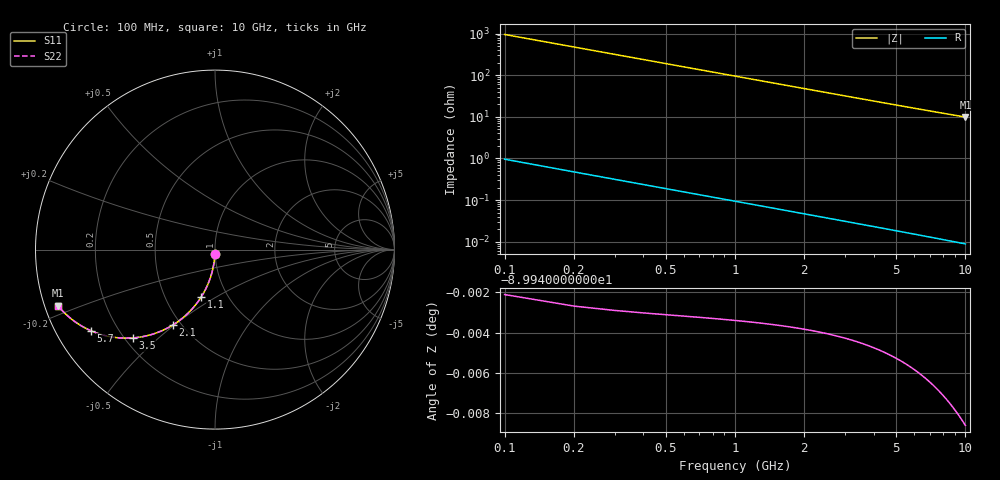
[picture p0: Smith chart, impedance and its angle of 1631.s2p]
# Hz S RI R 50.00
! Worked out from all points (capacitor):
!   100 points, 100 MHz to 10 GHz, reference 50 ohm
!   read as one part in shunt: C = 1.68 pF near 100 MHz
!   lowest |Z| = 9.85 ohm at 10 GHz (marker M1)
!   S11 on the Smith chart (normalised r, x): 100 MHz: 1.00, -0.05; 1.1 GHz: 0.75, -0.43; 2.1 GHz: 0.45, -0.49; 3.5 GHz: 0.23, -0.42; 5.7 GHz: 0.10, -0.29; 10 GHz: 0.04, -0.17
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1e8  -0.000688 -0.0262  0.9992 -0.0265  0.9992 -0.0265  -0.000688 -0.0262
2e8  -0.00279 -0.0522  0.9971 -0.0529  0.9971 -0.0529  -0.00279 -0.0522
3e8  -0.00625 -0.0781  0.9937 -0.079  0.9937 -0.079  -0.00625 -0.0781
4e8  -0.0111 -0.1036  0.9889 -0.1049  0.9889 -0.1049  -0.0111 -0.1036
5e8  -0.0172 -0.1287  0.9828 -0.1303  0.9828 -0.1303  -0.0172 -0.1287
6e8  -0.0245 -0.1532  0.9754 -0.1552  0.9754 -0.1552  -0.0245 -0.1532
7e8  -0.033 -0.1772  0.9669 -0.1794  0.9669 -0.1794  -0.033 -0.1772
9e8  -0.0534 -0.223  0.9465 -0.2258  0.9465 -0.2258  -0.0534 -0.223
1.1e9  -0.0777 -0.2654  0.9223 -0.269  0.9223 -0.269  -0.0777 -0.2654
1.4e9  -0.1199 -0.3222  0.88 -0.3267  0.88 -0.3267  -0.1199 -0.3222
1.8e9  -0.1837 -0.3839  0.8162 -0.3897  0.8162 -0.3897  -0.1837 -0.3839
2.1e9  -0.2344 -0.4198  0.7655 -0.4265  0.7655 -0.4265  -0.2344 -0.4198
2.7e9  -0.3359 -0.4675  0.664 -0.4762  0.664 -0.4762  -0.3359 -0.4675
3.4e9  -0.4449 -0.4909  0.5549 -0.502  0.5549 -0.502  -0.4449 -0.4909
3.5e9  -0.4593 -0.4922  0.5406 -0.5035  0.5406 -0.5035  -0.4593 -0.4922
4.3e9  -0.5617 -0.4886  0.4381 -0.5027  0.4381 -0.5027  -0.5617 -0.4886
5.1e9  -0.6433 -0.4701  0.3565 -0.4869  0.3565 -0.4869  -0.6433 -0.4701
5.7e9  -0.6926 -0.4515  0.3071 -0.4702  0.3071 -0.4702  -0.6926 -0.4515
6.7e9  -0.7571 -0.4171  0.2426 -0.4393  0.2426 -0.4393  -0.7571 -0.4171
7.5e9  -0.7963 -0.3896  0.2033 -0.4146  0.2033 -0.4146  -0.7963 -0.3896
8.4e9  -0.8309 -0.36  0.1686 -0.3882  0.1686 -0.3882  -0.8309 -0.36
1e10  -0.8749 -0.313  0.1245 -0.3469  0.1245 -0.3469  -0.8749 -0.313
